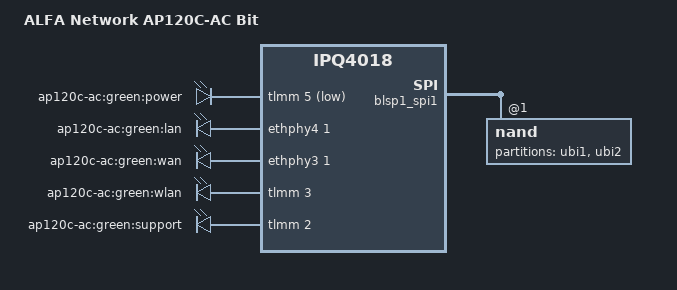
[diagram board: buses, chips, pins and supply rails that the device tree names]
// SPDX-License-Identifier: GPL-2.0-or-later OR MIT

#include "qcom-ipq4018-ap120c-ac.dtsi"

/ {
	model = "ALFA Network AP120C-AC Bit";

	leds {
		compatible = "gpio-leds";

		power {
			label = "ap120c-ac:green:power";
			gpios = <&tlmm 5 GPIO_ACTIVE_LOW>;
			default-state = "on";
		};

		lan {
			label = "ap120c-ac:green:lan";
			gpios = <&ethphy4 1 GPIO_ACTIVE_HIGH>;
		};

		wan {
			label = "ap120c-ac:green:wan";
			gpios = <&ethphy3 1 GPIO_ACTIVE_HIGH>;
		};

		wlan {
			label = "ap120c-ac:green:wlan";
			gpios = <&tlmm 3 GPIO_ACTIVE_HIGH>;
		};

		support {
			label = "ap120c-ac:green:support";
			gpios = <&tlmm 2 GPIO_ACTIVE_HIGH>;
			panic-indicator;
		};
	};
};

&blsp1_spi1 {
	nand@1 {
		partitions {
			compatible = "fixed-partitions";
			#address-cells = <1>;
			#size-cells = <1>;

			partition@0 {
				label = "ubi1";
				reg = <0x00000000 0x10000000>;
			};

			partition@10000000 {
				label = "ubi2";
				reg = <0x10000000 0x10000000>;
			};
		};
	};
};
